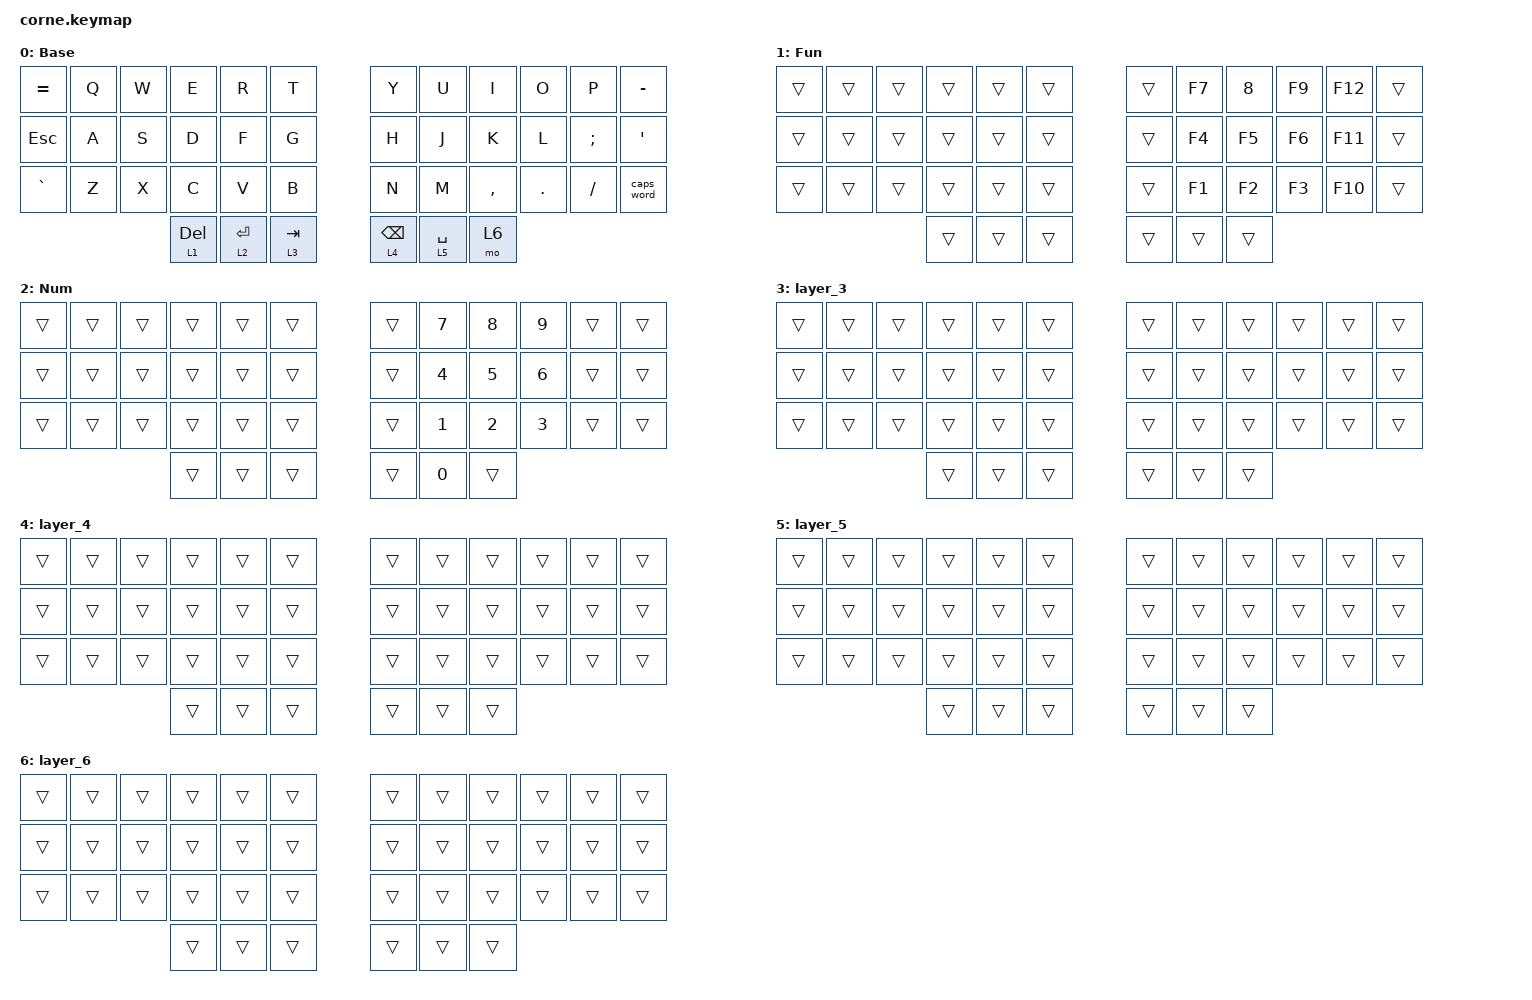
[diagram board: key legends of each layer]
/*
 * Copyright (c) 2020 The ZMK Contributors
 *
 * SPDX-License-Identifier: MIT
 */

#include <behaviors.dtsi>
#include <dt-bindings/zmk/keys.h>

/ {
    keymap {
        compatible = "zmk,keymap";

        default_layer {
            // -----------------------------------------------------------------------------------------
            // |  TAB |  Q  |  W  |  E  |  R  |  T  |   |  Y  |  U   |  I  |  O  |  P  | BKSP |
            // | CTRL |  A  |  S  |  D  |  F  |  G  |   |  H  |  J   |  K  |  L  |  ;  |  '   |
            // | SHFT |  Z  |  X  |  C  |  V  |  B  |   |  N  |  M   |  ,  |  .  |  /  | ESC  |
            //                    | GUI | LWR | SPC |   | ENT | RSE  | ALT |

            label = "Base";
            bindings = <
 &kp EQUAL  &kp Q  &kp W         &kp E        &kp R      &kp T              &kp Y        &kp U      &kp I    &kp O     &kp P   &kp MINUS
&kp ESCAPE  &kp A  &kp S         &kp D        &kp F      &kp G              &kp H        &kp J      &kp K    &kp L  &kp SEMI     &kp SQT
 &kp GRAVE  &kp Z  &kp X         &kp C        &kp V      &kp B              &kp N        &kp M  &kp COMMA  &kp DOT  &kp FSLH  &caps_word
                          &lt 1 DELETE  &lt 2 ENTER  &lt 3 TAB    &lt 4 BACKSPACE  &lt 5 SPACE      &mo 6
            >;
        };

        function {
            // -----------------------------------------------------------------------------------------
            // |  TAB |  1  |  2  |  3  |  4  |  5  |   |  6  |  7  |  8  |  9  |  0  | BKSP |
            // | BTCLR| BT1 | BT2 | BT3 | BT4 | BT5 |   | LFT | DWN |  UP | RGT |     |      |
            // | SHFT |     |     |     |     |     |   |     |     |     |     |     |      |
            //                    | GUI |     | SPC |   | ENT |     | ALT |

            label = "Fun";
            bindings = <
&trans  &trans  &trans  &trans  &trans  &trans    &trans  &kp F7  &kp N8  &kp F9  &kp F12  &trans
&trans  &trans  &trans  &trans  &trans  &trans    &trans  &kp F4  &kp F5  &kp F6  &kp F11  &trans
&trans  &trans  &trans  &trans  &trans  &trans    &trans  &kp F1  &kp F2  &kp F3  &kp F10  &trans
                        &trans  &trans  &trans    &trans  &trans  &trans
            >;
        };

        number {
            // -----------------------------------------------------------------------------------------
            // |  TAB |  !  |  @  |  #  |  $  |  %  |   |  ^  |  &  |  *  |  (  |  )  | BKSP |
            // | CTRL |     |     |     |     |     |   |  -  |  =  |  [  |  ]  |  \  |  `   |
            // | SHFT |     |     |     |     |     |   |  _  |  +  |  {  |  }  | "|" |  ~   |
            //                    | GUI |     | SPC |   | ENT |     | ALT |

            label = "Num";
            bindings = <
&trans  &trans  &trans  &trans  &trans  &trans    &trans  &kp N7  &kp N8  &kp N9  &trans  &trans
&trans  &trans  &trans  &trans  &trans  &trans    &trans  &kp N4  &kp N5  &kp N6  &trans  &trans
&trans  &trans  &trans  &trans  &trans  &trans    &trans  &kp N1  &kp N2  &kp N3  &trans  &trans
                        &trans  &trans  &trans    &trans  &kp N0  &trans
            >;
        };

        layer_3 {
            bindings = <
&trans  &trans  &trans  &trans  &trans  &trans    &trans  &trans  &trans  &trans  &trans  &trans
&trans  &trans  &trans  &trans  &trans  &trans    &trans  &trans  &trans  &trans  &trans  &trans
&trans  &trans  &trans  &trans  &trans  &trans    &trans  &trans  &trans  &trans  &trans  &trans
                        &trans  &trans  &trans    &trans  &trans  &trans
            >;
        };

        layer_4 {
            bindings = <
&trans  &trans  &trans  &trans  &trans  &trans    &trans  &trans  &trans  &trans  &trans  &trans
&trans  &trans  &trans  &trans  &trans  &trans    &trans  &trans  &trans  &trans  &trans  &trans
&trans  &trans  &trans  &trans  &trans  &trans    &trans  &trans  &trans  &trans  &trans  &trans
                        &trans  &trans  &trans    &trans  &trans  &trans
            >;
        };

        layer_5 {
            bindings = <
&trans  &trans  &trans  &trans  &trans  &trans    &trans  &trans  &trans  &trans  &trans  &trans
&trans  &trans  &trans  &trans  &trans  &trans    &trans  &trans  &trans  &trans  &trans  &trans
&trans  &trans  &trans  &trans  &trans  &trans    &trans  &trans  &trans  &trans  &trans  &trans
                        &trans  &trans  &trans    &trans  &trans  &trans
            >;
        };

        layer_6 {
            bindings = <
&trans  &trans  &trans  &trans  &trans  &trans    &trans  &trans  &trans  &trans  &trans  &trans
&trans  &trans  &trans  &trans  &trans  &trans    &trans  &trans  &trans  &trans  &trans  &trans
&trans  &trans  &trans  &trans  &trans  &trans    &trans  &trans  &trans  &trans  &trans  &trans
                        &trans  &trans  &trans    &trans  &trans  &trans
            >;
        };
    };
};
